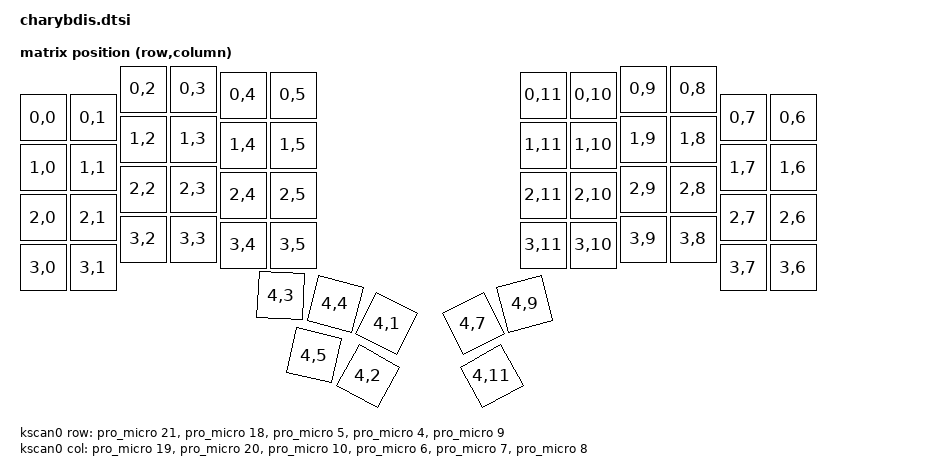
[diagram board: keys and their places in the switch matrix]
#include <dt-bindings/zmk/matrix_transform.h>
#include <physical_layouts.dtsi>

/ {
	chosen {
		zmk,kscan = &kscan0;
	};

	default_transform: keymap_transform0 {
		compatible = "zmk,matrix-transform";
		columns = <12>;
		rows = <5>;

		map = <
	RC(0,0) RC(0,1) RC(0,2) RC(0,3) RC(0,4) RC(0,5)  RC(0,11) RC(0,10) RC(0,9) RC(0,8) RC(0,7) RC(0,6)
	RC(1,0) RC(1,1) RC(1,2) RC(1,3) RC(1,4) RC(1,5)  RC(1,11) RC(1,10) RC(1,9) RC(1,8) RC(1,7) RC(1,6)
	RC(2,0) RC(2,1) RC(2,2) RC(2,3) RC(2,4) RC(2,5)  RC(2,11) RC(2,10) RC(2,9) RC(2,8) RC(2,7) RC(2,6)
	RC(3,0) RC(3,1) RC(3,2) RC(3,3) RC(3,4) RC(3,5)  RC(3,11) RC(3,10) RC(3,9) RC(3,8) RC(3,7) RC(3,6)
							RC(4,3) RC(4,4) RC(4,1)  RC(4,7)  RC(4,9)
									RC(4,5) RC(4,2)  RC(4,11)
		>;
	};

	kscan0: kscan {
		compatible = "zmk,kscan-gpio-matrix";
		wakeup-source;

		diode-direction = "col2row";
		row-gpios
			= <&pro_micro 21 (GPIO_ACTIVE_HIGH | GPIO_PULL_DOWN) >
			, <&pro_micro 18 (GPIO_ACTIVE_HIGH | GPIO_PULL_DOWN) >
			, <&pro_micro 5  (GPIO_ACTIVE_HIGH | GPIO_PULL_DOWN) >
			, <&pro_micro 4  (GPIO_ACTIVE_HIGH | GPIO_PULL_DOWN) >
			, <&pro_micro 9  (GPIO_ACTIVE_HIGH | GPIO_PULL_DOWN) >
			;

		col-gpios
			= <&pro_micro 19 GPIO_ACTIVE_HIGH>
			, <&pro_micro 20 GPIO_ACTIVE_HIGH>
			, <&pro_micro 10 GPIO_ACTIVE_HIGH>
			, <&pro_micro 6  GPIO_ACTIVE_HIGH>
			, <&pro_micro 7  GPIO_ACTIVE_HIGH>
			, <&pro_micro 8  GPIO_ACTIVE_HIGH>
			;

	};

	charybdis_6x4_layout: charybdis_6x4_layout {
		compatible = "zmk,physical-layout";
		display-name = "6x4";
		kscan = <&kscan0>;
		transform = <&default_transform>;

		keys  //					 w   h	x	y	 rot	rx	ry
			= <&key_physical_attrs 100 100	0   57	   0	 0	 0>
			, <&key_physical_attrs 100 100  100   57	   0	 0	 0>
			, <&key_physical_attrs 100 100  200	0	   0	 0	 0>
			, <&key_physical_attrs 100 100  300	0	   0	 0	 0>
			, <&key_physical_attrs 100 100  400   12	   0	 0	 0>
			, <&key_physical_attrs 100 100  500   12	   0	 0	 0>
			, <&key_physical_attrs 100 100 1000   12	   0	 0	 0>
			, <&key_physical_attrs 100 100 1100   12	   0	 0	 0>
			, <&key_physical_attrs 100 100 1200	0	   0	 0	 0>
			, <&key_physical_attrs 100 100 1300	0	   0	 0	 0>
			, <&key_physical_attrs 100 100 1400   57	   0	 0	 0>
			, <&key_physical_attrs 100 100 1500   57	   0	 0	 0>
			, <&key_physical_attrs 100 100	0  157	   0	 0	 0>
			, <&key_physical_attrs 100 100  100  157	   0	 0	 0>
			, <&key_physical_attrs 100 100  200  100	   0	 0	 0>
			, <&key_physical_attrs 100 100  300  100	   0	 0	 0>
			, <&key_physical_attrs 100 100  400  112	   0	 0	 0>
			, <&key_physical_attrs 100 100  500  112	   0	 0	 0>
			, <&key_physical_attrs 100 100 1000  112	   0	 0	 0>
			, <&key_physical_attrs 100 100 1100  112	   0	 0	 0>
			, <&key_physical_attrs 100 100 1200  100	   0	 0	 0>
			, <&key_physical_attrs 100 100 1300  100	   0	 0	 0>
			, <&key_physical_attrs 100 100 1400  157	   0	 0	 0>
			, <&key_physical_attrs 100 100 1500  157	   0	 0	 0>
			, <&key_physical_attrs 100 100	0  257	   0	 0	 0>
			, <&key_physical_attrs 100 100  100  257	   0	 0	 0>
			, <&key_physical_attrs 100 100  200  200	   0	 0	 0>
			, <&key_physical_attrs 100 100  300  200	   0	 0	 0>
			, <&key_physical_attrs 100 100  400  212	   0	 0	 0>
			, <&key_physical_attrs 100 100  500  212	   0	 0	 0>
			, <&key_physical_attrs 100 100 1000  212	   0	 0	 0>
			, <&key_physical_attrs 100 100 1100  212	   0	 0	 0>
			, <&key_physical_attrs 100 100 1200  200	   0	 0	 0>
			, <&key_physical_attrs 100 100 1300  200	   0	 0	 0>
			, <&key_physical_attrs 100 100 1400  257	   0	 0	 0>
			, <&key_physical_attrs 100 100 1500  257	   0	 0	 0>
			, <&key_physical_attrs 100 100	0  357	   0	 0	 0>
			, <&key_physical_attrs 100 100  100  357	   0	 0	 0>
			, <&key_physical_attrs 100 100  200  300	   0	 0	 0>
			, <&key_physical_attrs 100 100  300  300	   0	 0	 0>
			, <&key_physical_attrs 100 100  400  312	   0	 0	 0>
			, <&key_physical_attrs 100 100  500  312	   0	 0	 0>
			, <&key_physical_attrs 100 100 1000  312	   0	 0	 0>
			, <&key_physical_attrs 100 100 1100  312	   0	 0	 0>
			, <&key_physical_attrs 100 100 1200  300	   0	 0	 0>
			, <&key_physical_attrs 100 100 1300  300	   0	 0	 0>
			, <&key_physical_attrs 100 100 1400  357	   0	 0	 0>
			, <&key_physical_attrs 100 100 1500  357	   0	 0	 0>
			, <&key_physical_attrs 100 100  448  412	 300   498   989>
			, <&key_physical_attrs 100 100  448  412	1500   498   989>
			, <&key_physical_attrs 100 100  448  412	2700   498   989>
			, <&key_physical_attrs 100 100 1100  412 (-2700)  1150   989>
			, <&key_physical_attrs 100 100 1100  412 (-1500)  1150   989>
			, <&key_physical_attrs 100 100  448  522	1300   498   989>
			, <&key_physical_attrs 100 100  448  522	2900   498   989>
			, <&key_physical_attrs 100 100 1100  522 (-2900)  1150   989>
			;
	};

	charybdis_position_map {
		compatible = "zmk,physical-layout-position-map";

		complete;

		twelve {
			physical-layout = <&charybdis_6x4_layout>;
			positions
				= < 0  1  2  3  4  5  6  7  8  9 10 11 >
				, <12 13 14 15 16 17 18 19 20 21 22 23 >
				, <24 25 26 27 28 29 30 31 32 33 34 35 >
				, <36 37 38 39 40 41 42 43 44 45 46 47 >
				, <	        48 49 50 51 52             >
				, <	           53 54 55                >
				;
		};
	};
};
